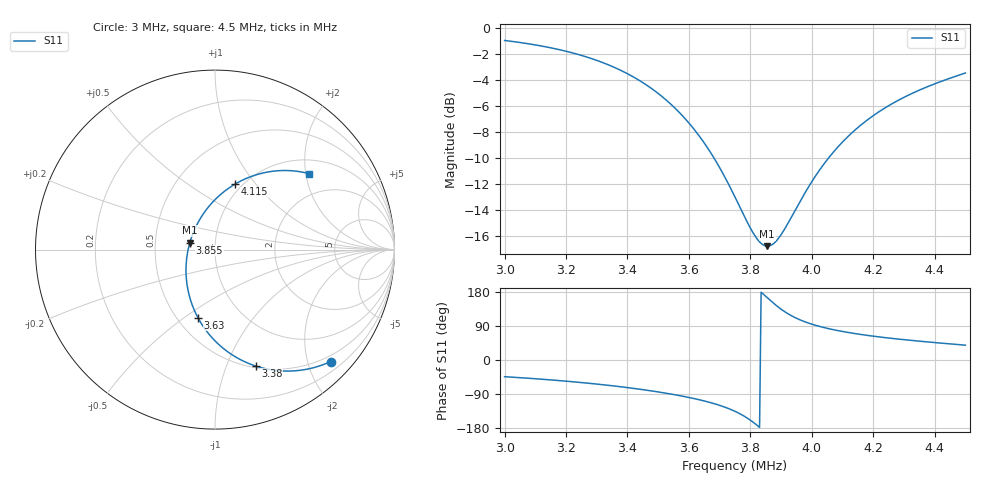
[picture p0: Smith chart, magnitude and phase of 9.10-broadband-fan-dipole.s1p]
! Antenna Turtle one-port network
! Model: Broadband 80m Fan Dipole
! Feed: feed-1
# MHz S RI R 50.000000000000
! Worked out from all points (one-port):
!   301 points, 3 MHz to 4.5 MHz, reference 50 ohm
!   lowest |S11| = -16.7 dB at 3.855 MHz (marker M1), VSWR 1.34, Z = 37.6 + j3.02 ohm
!   |S11| at or under -10 dB: 3.682 MHz to 4.054 MHz (371.5 kHz wide, 9.6 % of centre)
!   S11 on the Smith chart (normalised r, x): 3 MHz: 0.38, -2.42; 3.38 MHz: 0.52, -1.27; 3.63 MHz: 0.63, -0.56; 3.855 MHz: 0.75, +0.06; 4.115 MHz: 0.93, +0.79; 4.5 MHz: 1.34, +2.08
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3  0.6443 -0.6236
3.095  0.5653 -0.6534
3.19  0.4691 -0.6731
3.29  0.3485 -0.6743
3.375  0.2329 -0.6508
3.38  0.2258 -0.6485
3.43  0.1546 -0.6195
3.475  0.0907 -0.5831
3.52  0.0293 -0.5361
3.565  -0.0274 -0.4786
3.63  -0.0956 -0.3784
3.69  -0.1391 -0.2717
3.75  -0.16 -0.1576
3.815  -0.1557 -0.0335
3.835  -0.149 0.00337
3.855  -0.14 0.0393
3.87  -0.1318 0.0655
3.89  -0.1191 0.0993
3.94  -0.0794 0.1771
3.985  -0.0361 0.2381
4.025  0.00668 0.2847
4.07  0.0578 0.3288
4.115  0.1105 0.3642
4.125  0.1223 0.371
4.215  0.2273 0.4162
4.315  0.3375 0.4383
4.405  0.4293 0.4392
4.5  0.522 0.4237
